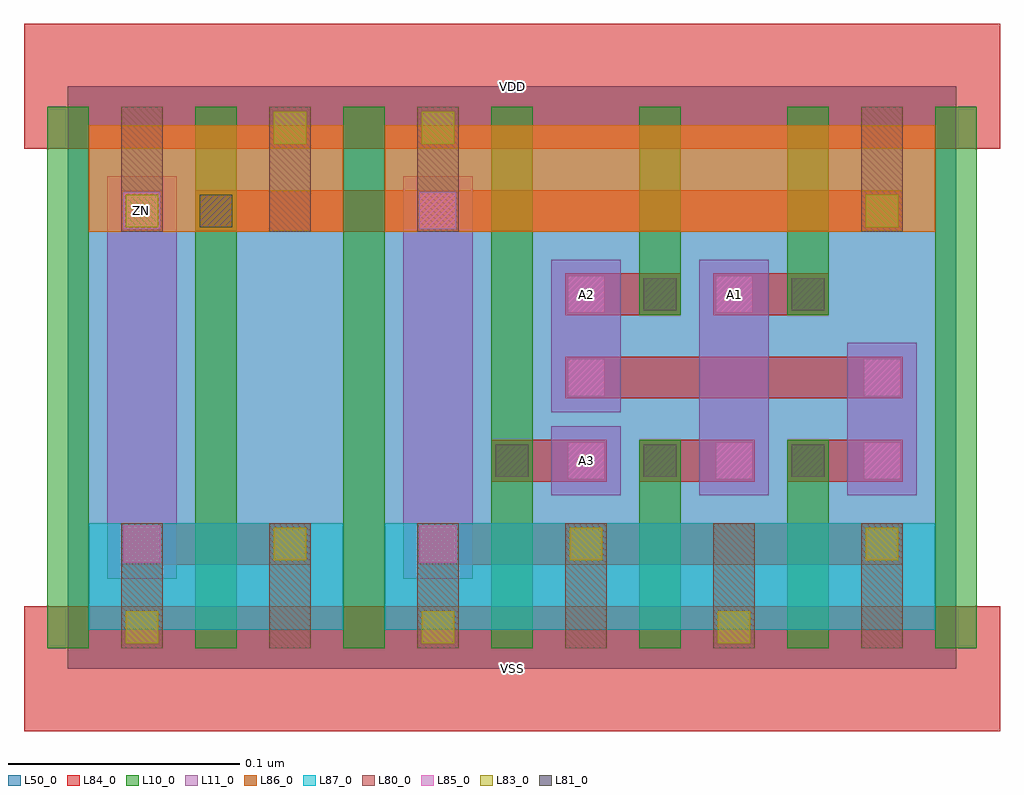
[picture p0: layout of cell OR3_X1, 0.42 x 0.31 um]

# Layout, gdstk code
import gdstk
lib = gdstk.Library(unit=1e-6, precision=1e-09)
def R(c, l, rs):  # rectangles x0, y0, x1, y1
    for r in rs: c.add(gdstk.rectangle(r[:2], r[2:], *l))
def A(c, l, x, y, w, h, nx, ny, dx, dy):  # array of equal rectangles
    R(c, l, [(x+i*dx, y+j*dy, x+i*dx+w, y+j*dy+h) for i in range(nx) for j in range(ny)])
L10_0 = (10, 0)
L11_0 = (11, 0)
L50_0 = (50, 0)
L80_0 = (80, 0)
L81_0 = (81, 0)
L83_0 = (83, 0)
L84_0 = (84, 0)
L85_0 = (85, 0)
L86_0 = (86, 0)
L87_0 = (87, 0)

or3_x1 = lib.new_cell('OR3_X1')
A(or3_x1, L10_0, -0.009, 0.009, 0.018, 0.234, 4, 1, 0.064, 0)
R(or3_x1, L10_0, [(0.247,0.009,0.265,0.099), (0.311,0.009,0.329,0.099), (0.375,0.009,0.393,0.243), (0.247,0.153,0.265,0.243), (0.311,0.153,0.329,0.243)])
R(or3_x1, L11_0, [(0.017,0.039,0.047,0.213), (0.145,0.039,0.175,0.213), (0.209,0.075,0.239,0.105), (0.273,0.075,0.303,0.177), (0.337,0.075,0.367,0.141), (0.209,0.111,0.239,0.177)])
R(or3_x1, L50_0, [(0,0,0.384,0.252)])
A(or3_x1, L80_0, 0.023, 0.009, 0.018, 0.054, 6, 1, 0.064, 0)
A(or3_x1, L80_0, 0.023, 0.189, 0.018, 0.054, 3, 1, 0.064, 0)
R(or3_x1, L80_0, [(0.343,0.189,0.361,0.243)])
A(or3_x1, L81_0, 0.185, 0.083, 0.014, 0.014, 3, 1, 0.064, 0)
R(or3_x1, L81_0, [(0.249,0.155,0.263,0.169), (0.313,0.155,0.327,0.169), (0.057,0.191,0.071,0.205)])
A(or3_x1, L83_0, 0.025, 0.011, 0.014, 0.014, 3, 1, 0.128, 0)
A(or3_x1, L83_0, 0.089, 0.047, 0.014, 0.014, 3, 1, 0.128, 0)
R(or3_x1, L83_0, [(0.025,0.191,0.039,0.205), (0.345,0.191,0.359,0.205), (0.089,0.227,0.103,0.241), (0.153,0.227,0.167,0.241)])
A(or3_x1, L84_0, 0.183, 0.081, 0.05, 0.018, 3, 1, 0.064, 0)
R(or3_x1, L84_0, [(-0.019,-0.027,0.403,0.027), (0.023,0.045,0.105,0.063), (0.151,0.045,0.361,0.063), (0.215,0.117,0.361,0.135), (0.215,0.153,0.265,0.171), (0.279,0.153,0.329,0.171), (0.023,0.189,0.041,0.207), (0.055,0.189,0.361,0.207), (-0.019,0.225,0.403,0.279)])
A(or3_x1, L85_0, 0.216, 0.082, 0.016, 0.016, 3, 1, 0.064, 0)
R(or3_x1, L85_0, [(0.024,0.046,0.04,0.062), (0.152,0.046,0.168,0.062), (0.216,0.118,0.232,0.134), (0.344,0.118,0.36,0.134), (0.216,0.154,0.232,0.17), (0.28,0.154,0.296,0.17), (0.024,0.19,0.04,0.206), (0.152,0.19,0.168,0.206)])
R(or3_x1, L86_0, [(0.009,0.189,0.119,0.235), (0.137,0.189,0.375,0.235)])
R(or3_x1, L87_0, [(0.009,0.017,0.119,0.063), (0.137,0.017,0.375,0.063)])
or3_x1.add(gdstk.Label('VDD', (0.192,0.252), layer=88, texttype=0))
or3_x1.add(gdstk.Label('VSS', (0.192,0), layer=88, texttype=0))
or3_x1.add(gdstk.Label('A1', (0.288,0.162), layer=31, texttype=0))
or3_x1.add(gdstk.Label('ZN', (0.032,0.198), layer=31, texttype=0))
or3_x1.add(gdstk.Label('A2', (0.224,0.162), layer=31, texttype=0))
or3_x1.add(gdstk.Label('A3', (0.224,0.09), layer=31, texttype=0))

lib.write_gds('OR3_X1.gds')
